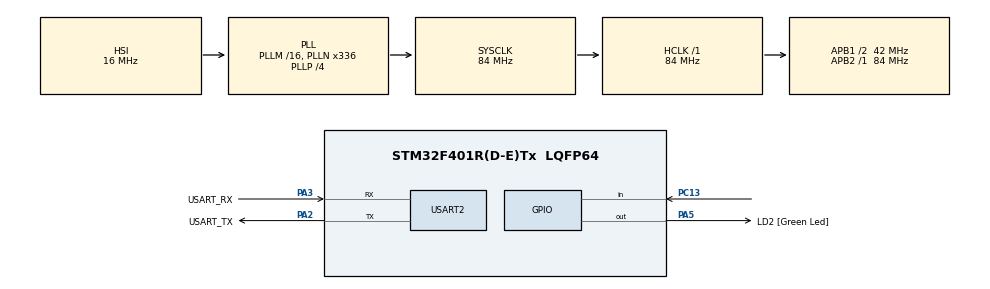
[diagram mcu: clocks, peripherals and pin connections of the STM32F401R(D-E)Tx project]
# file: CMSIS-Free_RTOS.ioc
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FREERTOS.Tasks01=Blink01,24,128,StartBlink1,Default,NULL,Dynamic,NULL,NULL;Blink02,16,128,StartBlink02,Default,NULL,Dynamic,NULL,NULL;Button1,33,128,Button_press,Default,NULL,Dynamic,NULL,NULL
Mcu.Family=STM32F4
Mcu.Name=STM32F401R(D-E)Tx
Mcu.Package=LQFP64
NVIC.PriorityGroup=NVIC_PRIORITYGROUP_4
NVIC.TIM5_IRQn=true\:15\:0\:false\:false\:true\:false\:false\:true\:true
NVIC.TimeBase=TIM5_IRQn
NVIC.TimeBaseIP=TIM5
PA13.GPIO_Label=TMS
PA13.Mode=Serial_Wire
PA13.Signal=SYS_JTMS-SWDIO
PA14.GPIO_Label=TCK
PA14.Mode=Serial_Wire
PA14.Signal=SYS_JTCK-SWCLK
PA2.GPIO_Label=USART_TX
PA2.GPIO_Mode=GPIO_MODE_AF_PP
PA2.GPIO_PuPd=GPIO_NOPULL
PA2.GPIO_Speed=GPIO_SPEED_FREQ_LOW
PA2.Mode=Asynchronous
PA2.Signal=USART2_TX
PA3.GPIO_Label=USART_RX
PA3.GPIO_Mode=GPIO_MODE_AF_PP
PA3.GPIO_PuPd=GPIO_NOPULL
PA3.GPIO_Speed=GPIO_SPEED_FREQ_LOW
PA3.Mode=Asynchronous
PA3.Signal=USART2_RX
PA5.GPIO_Label=LD2 [Green Led]
PA5.GPIO_Mode=GPIO_MODE_OUTPUT_PP
PA5.GPIO_PuPd=GPIO_NOPULL
PA5.GPIO_Speed=GPIO_SPEED_FREQ_LOW
PA5.Signal=GPIO_Output
PB3.GPIO_Label=SWO
PB3.Signal=SYS_JTDO-SWO
PC13-ANTI_TAMP.Signal=GPIO_Input
PC14-OSC32_IN.Mode=LSE-External-Oscillator
PC14-OSC32_IN.Signal=RCC_OSC32_IN
PC15-OSC32_OUT.Mode=LSE-External-Oscillator
PC15-OSC32_OUT.Signal=RCC_OSC32_OUT
PH0\ -\ OSC_IN.Mode=HSE-External-Clock-Source
PH0\ -\ OSC_IN.Signal=RCC_OSC_IN
PH1\ -\ OSC_OUT.Mode=HSE-External-Clock-Source
PH1\ -\ OSC_OUT.Signal=RCC_OSC_OUT
ProjectManager.HeapSize=0x200
ProjectManager.StackSize=0x400
ProjectManager.TargetToolchain=STM32CubeIDE
RCC.48MHZClocksFreq_Value=48000000
RCC.AHBFreq_Value=84000000
RCC.APB1CLKDivider=RCC_HCLK_DIV2
RCC.APB1Freq_Value=42000000
RCC.APB1TimFreq_Value=84000000
RCC.APB2Freq_Value=84000000
RCC.APB2TimFreq_Value=84000000
RCC.CortexFreq_Value=84000000
RCC.HCLKFreq_Value=84000000
RCC.HSE_VALUE=8000000
RCC.HSI_VALUE=16000000
RCC.PLLN=336
RCC.PLLP=RCC_PLLP_DIV4
RCC.PLLQ=7
RCC.SYSCLKFreq_VALUE=84000000
RCC.SYSCLKSource=RCC_SYSCLKSOURCE_PLLCLK
RCC.VCOOutputFreq_Value=336000000
USART2.VirtualMode=VM_ASYNC
VP_FREERTOS_VS_CMSIS_V2.Mode=CMSIS_V2
VP_SYS_VS_tim5.Mode=TIM5
board=NUCLEO-F401RE

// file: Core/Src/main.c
/* USER CODE BEGIN Header */
/**
  ******************************************************************************
  * @file           : main.c
  * @brief          : Main program body
  ******************************************************************************
  * @attention
  *
  * Copyright (c) 2025 STMicroelectronics.
  * All rights reserved.
  *
  * This software is licensed under terms that can be found in the LICENSE file
  * in the root directory of this software component.
  * If no LICENSE file comes with this software, it is provided AS-IS.
  *
  ******************************************************************************
  */
/* USER CODE END Header */
#include "main.h"
#include "cmsis_os.h"

/* USER CODE BEGIN Includes */
#include<stdio.h>
#include<stdint.h>
/* USER CODE END Includes */

/* USER CODE BEGIN PTD */
#define PIN_RESET GPIO_PIN_RESET
#define PIN_SET   GPIO_PIN_SET

/* USER CODE END PTD */

UART_HandleTypeDef huart2;

/* Definitions for Blink01 */
osThreadId_t Blink01Handle;
const osThreadAttr_t Blink01_attributes = {
  .name = "Blink01",
  .stack_size = 128 * 4,
  .priority = (osPriority_t) osPriorityNormal,
};
/* Definitions for Blink02 */
osThreadId_t Blink02Handle;
const osThreadAttr_t Blink02_attributes = {
  .name = "Blink02",
  .stack_size = 128 * 4,
  .priority = (osPriority_t) osPriorityBelowNormal,
};
/* Definitions for Button1 */
osThreadId_t Button1Handle;
const osThreadAttr_t Button1_attributes = {
  .name = "Button1",
  .stack_size = 128 * 4,
  .priority = (osPriority_t) osPriorityAboveNormal1,
};

void SystemClock_Config(void);
static void MX_GPIO_Init(void);
static void MX_USART2_UART_Init(void);
void StartBlink1(void *argument);
void StartBlink02(void *argument);
void Button_press(void *argument);

int main(void)
{

  /* MCU Configuration--------------------------------------------------------*/

  /* Reset of all peripherals, Initializes the Flash interface and the Systick. */
  HAL_Init();

  /* Configure the system clock */
  SystemClock_Config();

  /* Initialize all configured peripherals */
  MX_GPIO_Init();
  MX_USART2_UART_Init();
  /* USER CODE BEGIN 2 */

  /* Create the thread(s) */
   /* creation of Blink01 */
  /* Init scheduler */
   osKernelInitialize();

   Blink01Handle = osThreadNew(StartBlink1, NULL, &Blink01_attributes);
   Blink02Handle = osThreadNew(StartBlink02, NULL, &Blink02_attributes);
   Button1Handle = osThreadNew(Button_press, NULL, &Button1_attributes);

   osThreadSuspend(Blink02Handle); // start with Blink01 active

   osKernelStart();
  /* USER CODE END 2 */

  /* add threads, ... */
  /* USER CODE END RTOS_THREADS */

  /* Start scheduler */
  osKernelStart();

  /* We should never get here as control is now taken by the scheduler */

  /* Infinite loop */
  while (1)
  {

  }
}

void SystemClock_Config(void)
{
  RCC_OscInitTypeDef RCC_OscInitStruct = {0};
  RCC_ClkInitTypeDef RCC_ClkInitStruct = {0};

  /** Configure the main internal regulator output voltage
  */
  __HAL_RCC_PWR_CLK_ENABLE();
  __HAL_PWR_VOLTAGESCALING_CONFIG(PWR_REGULATOR_VOLTAGE_SCALE2);

  /** Initializes the RCC Oscillators according to the specified parameters
  * in the RCC_OscInitTypeDef structure.
  */
  RCC_OscInitStruct.OscillatorType = RCC_OSCILLATORTYPE_HSI;
  RCC_OscInitStruct.HSIState = RCC_HSI_ON;
  RCC_OscInitStruct.HSICalibrationValue = RCC_HSICALIBRATION_DEFAULT;
  RCC_OscInitStruct.PLL.PLLState = RCC_PLL_ON;
  RCC_OscInitStruct.PLL.PLLSource = RCC_PLLSOURCE_HSI;
  RCC_OscInitStruct.PLL.PLLM = 16;
  RCC_OscInitStruct.PLL.PLLN = 336;
  RCC_OscInitStruct.PLL.PLLP = RCC_PLLP_DIV4;
  RCC_OscInitStruct.PLL.PLLQ = 7;
  if (HAL_RCC_OscConfig(&RCC_OscInitStruct) != HAL_OK)
  {
    Error_Handler();
  }

  /** Initializes the CPU, AHB and APB buses clocks
  */
  RCC_ClkInitStruct.ClockType = RCC_CLOCKTYPE_HCLK|RCC_CLOCKTYPE_SYSCLK
                              |RCC_CLOCKTYPE_PCLK1|RCC_CLOCKTYPE_PCLK2;
  RCC_ClkInitStruct.SYSCLKSource = RCC_SYSCLKSOURCE_PLLCLK;
  RCC_ClkInitStruct.AHBCLKDivider = RCC_SYSCLK_DIV1;
  RCC_ClkInitStruct.APB1CLKDivider = RCC_HCLK_DIV2;
  RCC_ClkInitStruct.APB2CLKDivider = RCC_HCLK_DIV1;

  if (HAL_RCC_ClockConfig(&RCC_ClkInitStruct, FLASH_LATENCY_2) != HAL_OK)
  {
    Error_Handler();
  }
}

static void MX_USART2_UART_Init(void)
{

  huart2.Instance = USART2;
  huart2.Init.BaudRate = 115200;
  huart2.Init.WordLength = UART_WORDLENGTH_8B;
  huart2.Init.StopBits = UART_STOPBITS_1;
  huart2.Init.Parity = UART_PARITY_NONE;
  huart2.Init.Mode = UART_MODE_TX_RX;
  huart2.Init.HwFlowCtl = UART_HWCONTROL_NONE;
  huart2.Init.OverSampling = UART_OVERSAMPLING_16;
  if (HAL_UART_Init(&huart2) != HAL_OK)
  {
    Error_Handler();
  }

}

static void MX_GPIO_Init(void)
{
  GPIO_InitTypeDef GPIO_InitStruct = {0};

  /* GPIO Ports Clock Enable */
  __HAL_RCC_GPIOC_CLK_ENABLE();
  __HAL_RCC_GPIOH_CLK_ENABLE();
  __HAL_RCC_GPIOA_CLK_ENABLE();
  __HAL_RCC_GPIOB_CLK_ENABLE();

  /*Configure GPIO pin Output Level */
  HAL_GPIO_WritePin(LD2_GPIO_Port, LD2_Pin, GPIO_PIN_RESET);

  /*Configure GPIO pin : PC13 */
  GPIO_InitStruct.Pin = GPIO_PIN_13;
  GPIO_InitStruct.Mode = GPIO_MODE_INPUT;
  GPIO_InitStruct.Pull = GPIO_NOPULL;
  HAL_GPIO_Init(GPIOC, &GPIO_InitStruct);

  /*Configure GPIO pin : LD2_Pin */
  GPIO_InitStruct.Pin = LD2_Pin;
  GPIO_InitStruct.Mode = GPIO_MODE_OUTPUT_PP;
  GPIO_InitStruct.Pull = GPIO_NOPULL;
  GPIO_InitStruct.Speed = GPIO_SPEED_FREQ_LOW;
  HAL_GPIO_Init(LD2_GPIO_Port, &GPIO_InitStruct);

}

void StartBlink1(void *argument)
{
  /* USER CODE BEGIN 5 */
  /* Infinite loop */
  for(;;)
  {
	  HAL_GPIO_TogglePin(GPIOA, GPIO_PIN_5);
    osDelay(300);
  }
  //osThreadTerminate(NULL);
  /* USER CODE END 5 */
}

void StartBlink02(void *argument)
{
  /* USER CODE BEGIN StartBlink02 */
  /* Infinite loop */
  for(;;)
  {
	  HAL_GPIO_TogglePin(GPIOA, GPIO_PIN_5);
	  osDelay(1000);
  }
	   //osThreadTerminate(NULL);
  /* USER CODE END StartBlink02 */
}

void Button_press(void *argument)
{
  /* USER CODE BEGIN Button_press */
	uint32_t state = 0;
  /* Infinite loop */
	while(1)
	{
      if(HAL_GPIO_ReadPin(GPIOC, GPIO_PIN_13 )==PIN_RESET)
      {
    	  osDelay(50);

    	  if (HAL_GPIO_ReadPin(GPIOC, GPIO_PIN_13) == GPIO_PIN_RESET)
    	  {
    	  if (state == 0)
    	          {
    	            osThreadSuspend(Blink01Handle);
    	            osThreadResume(Blink02Handle);
    	            state = 1;
    	          }
    	          else
    	          {
    	            osThreadSuspend(Blink02Handle);
    	            osThreadResume(Blink01Handle);
    	            state = 0;
    	          }
    	  while (HAL_GPIO_ReadPin(GPIOC, GPIO_PIN_13) == GPIO_PIN_RESET)
    	          osDelay(10);

      }
	}
	  osDelay(10);

  /* USER CODE END Button_press */
	}
}

void HAL_TIM_PeriodElapsedCallback(TIM_HandleTypeDef *htim)
{
  if (htim->Instance == TIM5)
  {
    HAL_IncTick();
  }
}

void Error_Handler(void)
{
  __disable_irq();
  while (1)
  {
  }
}
